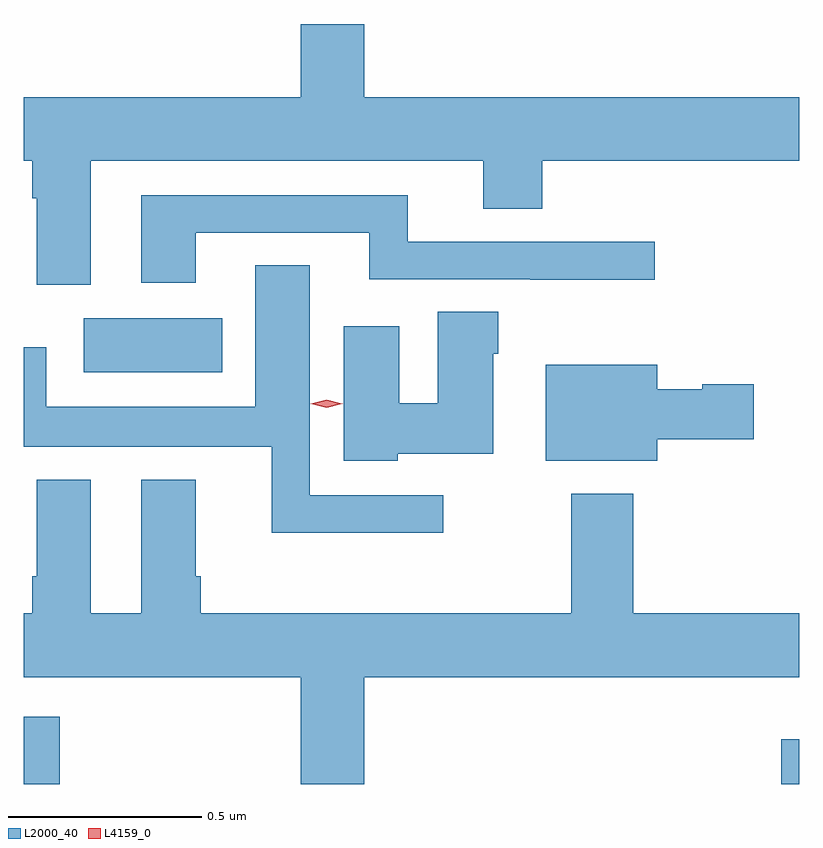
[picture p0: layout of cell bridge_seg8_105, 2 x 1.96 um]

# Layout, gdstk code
import gdstk
lib = gdstk.Library(unit=1e-6, precision=1e-09)
def R(c, l, rs):  # rectangles x0, y0, x1, y1
    for r in rs: c.add(gdstk.rectangle(r[:2], r[2:], *l))
def P(c, l, *ps):  # polygons
    for p in ps: c.add(gdstk.Polygon(p, *l))
L2000_40 = (2000, 40)
L4159_0 = (4159, 0)

bridge_seg8_105 = lib.new_cell('bridge_seg8_105')
R(bridge_seg8_105, L2000_40, [(703.754,1142.864,703.847,1143.037), (705.708,1142.864,705.754,1142.98), (703.908,1143.926,704.266,1144.066)])
P(bridge_seg8_105, L2000_40, [(703.927,1144.472),(704.939,1144.472),(704.939,1144.348),(705.092,1144.348),(705.092,1144.472),(705.754,1144.472),(705.754,1144.636),(704.632,1144.636),(704.632,1144.825),(704.468,1144.825),(704.468,1144.636),(703.754,1144.636),(703.754,1144.472),(703.775,1144.472),(703.775,1144.376),(703.787,1144.376),(703.787,1144.152),(703.927,1144.152)],
  [(704.197,1144.287),(704.645,1144.287),(704.645,1144.167),(705.061,1144.167),(705.061,1144.165),(705.382,1144.165),(705.382,1144.263),(704.744,1144.263),(704.744,1144.383),(704.057,1144.383),(704.057,1144.158),(704.197,1144.158)],
  [(704.836,1143.609),(704.491,1143.609),(704.491,1144.202),(704.351,1144.202),(704.351,1143.838),(703.812,1143.838),(703.812,1143.991),(703.754,1143.991),(703.754,1143.734),(704.393,1143.734),(704.393,1143.512),(704.836,1143.512)],
  [(704.718,1143.716),(704.965,1143.716),(704.965,1143.974),(704.978,1143.974),(704.978,1144.082),(704.822,1144.082),(704.822,1143.846),(704.722,1143.846),(704.722,1144.045),(704.579,1144.045),(704.579,1143.698),(704.718,1143.698)],
  [(705.388,1143.754),(705.637,1143.754),(705.637,1143.896),(705.504,1143.896),(705.504,1143.883),(705.388,1143.883),(705.388,1143.946),(705.101,1143.946),(705.101,1143.698),(705.388,1143.698)],
  [(704.632,1143.14),(705.754,1143.14),(705.754,1143.304),(705.326,1143.304),(705.326,1143.613),(705.166,1143.613),(705.166,1143.304),(704.21,1143.304),(704.21,1143.4),(704.197,1143.4),(704.197,1143.649),(704.057,1143.649),(704.057,1143.304),(703.927,1143.304),(703.927,1143.649),(703.787,1143.649),(703.787,1143.4),(703.775,1143.4),(703.775,1143.304),(703.754,1143.304),(703.754,1143.14),(704.468,1143.14),(704.468,1142.864),(704.632,1142.864)])
P(bridge_seg8_105, L4159_0, [(704.535,1143.835),(704.494,1143.845),(704.494,1143.845),(704.494,1143.845),(704.535,1143.855),(704.575,1143.845),(704.576,1143.845),(704.575,1143.845)])

lib.write_gds('bridge_seg8_105.gds')
